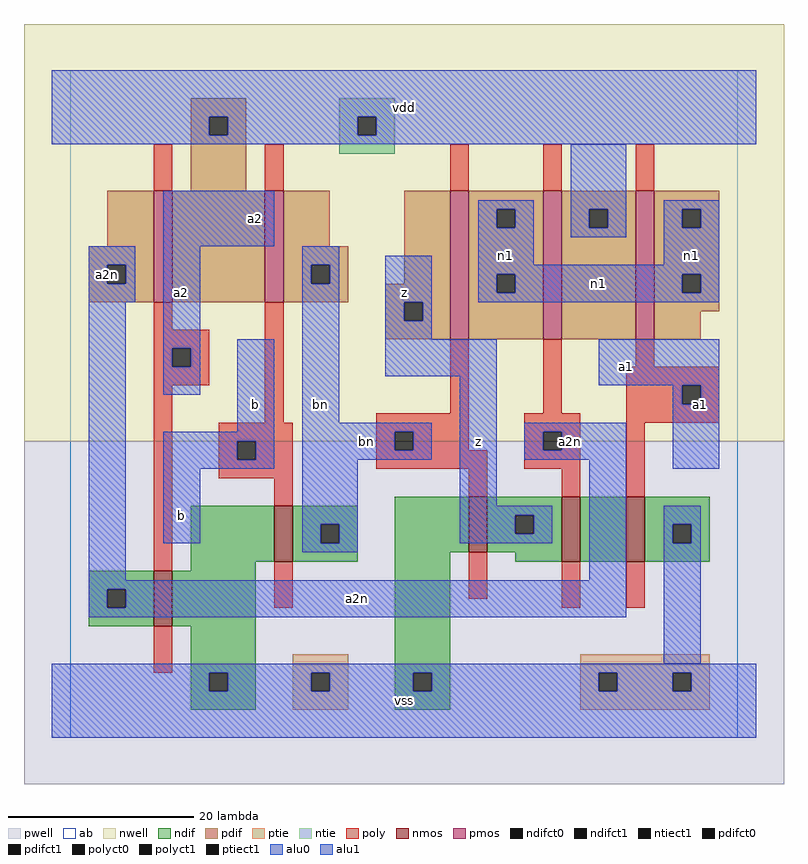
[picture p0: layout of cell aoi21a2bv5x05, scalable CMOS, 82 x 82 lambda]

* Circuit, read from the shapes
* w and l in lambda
.subckt aoi21a2bv5x05 a1 a2 a2n b bn n1 vdd vss z
M1 vss a2 a2n vss nfet w=6 l=2
M2 bn b vss vss nfet w=6 l=2
M3 z bn vss vss nfet w=6 l=2
M4 n2 a2n z vss nfet w=7 l=2
M5 vss a1 n2 vss nfet w=7 l=2
M6 vdd a2 a2n vdd pfet w=12 l=2
M7 bn b vdd vdd pfet w=12 l=2
M8 n1 bn z vdd pfet w=16 l=2
M9 vdd a2n n1 vdd pfet w=16 l=2
M10 n1 a1 vdd vdd pfet w=16 l=2
.ends

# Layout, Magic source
magic
tech scmos
<< ab >>
rect 0 0 72 72
<< nwell >>
rect -5 32 77 77
<< pwell >>
rect -5 -5 77 32
<< poly >>
rect 9 59 11 64
rect 21 59 23 64
rect 41 59 43 64
rect 51 59 53 64
rect 61 59 63 64
rect 9 44 11 47
rect 9 42 15 44
rect 9 40 11 42
rect 13 40 15 42
rect 9 38 15 40
rect 9 18 11 38
rect 21 34 23 47
rect 41 35 43 43
rect 51 35 53 43
rect 61 40 63 43
rect 60 38 70 40
rect 60 36 66 38
rect 68 36 70 38
rect 16 32 24 34
rect 16 30 18 32
rect 20 30 24 32
rect 16 28 24 30
rect 33 33 43 35
rect 33 31 35 33
rect 37 31 43 33
rect 49 33 55 35
rect 49 31 51 33
rect 53 31 55 33
rect 33 29 45 31
rect 49 29 55 31
rect 22 25 24 28
rect 43 26 45 29
rect 53 26 55 29
rect 60 34 70 36
rect 60 26 62 34
rect 22 14 24 19
rect 9 7 11 12
rect 43 15 45 20
rect 53 14 55 19
rect 60 14 62 19
<< ndif >>
rect 13 19 22 25
rect 24 23 31 25
rect 24 21 27 23
rect 29 21 31 23
rect 24 19 31 21
rect 35 20 43 26
rect 45 24 53 26
rect 45 22 48 24
rect 50 22 53 24
rect 45 20 53 22
rect 13 18 20 19
rect 2 16 9 18
rect 2 14 4 16
rect 6 14 9 16
rect 2 12 9 14
rect 11 12 20 18
rect 13 7 20 12
rect 13 5 15 7
rect 17 5 20 7
rect 13 3 20 5
rect 35 7 41 20
rect 48 19 53 20
rect 55 19 60 26
rect 62 23 69 26
rect 62 21 65 23
rect 67 21 69 23
rect 62 19 69 21
rect 35 5 37 7
rect 39 5 41 7
rect 35 3 41 5
<< pdif >>
rect 13 67 19 69
rect 13 65 15 67
rect 17 65 19 67
rect 13 59 19 65
rect 4 53 9 59
rect 2 51 9 53
rect 2 49 4 51
rect 6 49 9 51
rect 2 47 9 49
rect 11 47 21 59
rect 23 53 28 59
rect 23 51 30 53
rect 23 49 26 51
rect 28 49 30 51
rect 36 49 41 59
rect 23 47 30 49
rect 34 47 41 49
rect 34 45 36 47
rect 38 45 41 47
rect 34 43 41 45
rect 43 57 51 59
rect 43 55 46 57
rect 48 55 51 57
rect 43 50 51 55
rect 43 48 46 50
rect 48 48 51 50
rect 43 43 51 48
rect 53 57 61 59
rect 53 55 56 57
rect 58 55 61 57
rect 53 43 61 55
rect 63 57 70 59
rect 63 55 66 57
rect 68 55 70 57
rect 63 50 70 55
rect 63 48 66 50
rect 68 48 70 50
rect 63 46 70 48
rect 63 43 68 46
<< alu1 >>
rect -2 67 74 72
rect -2 65 15 67
rect 17 65 31 67
rect 33 65 74 67
rect -2 64 74 65
rect 10 53 22 59
rect 10 42 14 53
rect 10 40 11 42
rect 13 40 14 42
rect 10 37 14 40
rect 18 33 22 43
rect 10 32 22 33
rect 10 30 18 32
rect 20 30 22 32
rect 10 29 22 30
rect 34 47 39 52
rect 34 45 36 47
rect 38 45 39 47
rect 34 43 39 45
rect 34 39 46 43
rect 10 21 14 29
rect 42 25 46 39
rect 57 38 70 43
rect 65 36 66 38
rect 68 36 70 38
rect 42 24 52 25
rect 42 22 48 24
rect 50 22 52 24
rect 42 21 52 22
rect 65 29 70 36
rect -2 7 74 8
rect -2 5 15 7
rect 17 5 26 7
rect 28 5 37 7
rect 39 5 57 7
rect 59 5 65 7
rect 67 5 74 7
rect -2 0 74 5
<< ptie >>
rect 24 7 30 9
rect 24 5 26 7
rect 28 5 30 7
rect 24 3 30 5
rect 55 7 69 9
rect 55 5 57 7
rect 59 5 65 7
rect 67 5 69 7
rect 55 3 69 5
<< ntie >>
rect 29 67 35 69
rect 29 65 31 67
rect 33 65 35 67
rect 29 63 35 65
<< nmos >>
rect 22 19 24 25
rect 43 20 45 26
rect 9 12 11 18
rect 53 19 55 26
rect 60 19 62 26
<< pmos >>
rect 9 47 11 59
rect 21 47 23 59
rect 41 43 43 59
rect 51 43 53 59
rect 61 43 63 59
<< polyct0 >>
rect 35 31 37 33
rect 51 31 53 33
<< polyct1 >>
rect 11 40 13 42
rect 66 36 68 38
rect 18 30 20 32
<< ndifct0 >>
rect 27 21 29 23
rect 4 14 6 16
rect 65 21 67 23
<< ndifct1 >>
rect 48 22 50 24
rect 15 5 17 7
rect 37 5 39 7
<< ntiect1 >>
rect 31 65 33 67
<< ptiect1 >>
rect 26 5 28 7
rect 57 5 59 7
rect 65 5 67 7
<< pdifct0 >>
rect 4 49 6 51
rect 26 49 28 51
rect 46 55 48 57
rect 46 48 48 50
rect 56 55 58 57
rect 66 55 68 57
rect 66 48 68 50
<< pdifct1 >>
rect 15 65 17 67
rect 36 45 38 47
<< alu0 >>
rect 44 57 50 58
rect 44 55 46 57
rect 48 55 50 57
rect 2 51 7 53
rect 2 49 4 51
rect 6 49 7 51
rect 2 47 7 49
rect 2 17 6 47
rect 25 51 29 53
rect 25 49 26 51
rect 28 49 29 51
rect 25 34 29 49
rect 44 51 50 55
rect 54 57 60 64
rect 54 55 56 57
rect 58 55 60 57
rect 54 54 60 55
rect 64 57 70 58
rect 64 55 66 57
rect 68 55 70 57
rect 64 51 70 55
rect 44 50 70 51
rect 44 48 46 50
rect 48 48 66 50
rect 68 48 70 50
rect 44 47 70 48
rect 25 33 39 34
rect 25 31 35 33
rect 37 31 39 33
rect 25 30 39 31
rect 25 23 31 30
rect 25 21 27 23
rect 29 21 31 23
rect 49 33 60 34
rect 49 31 51 33
rect 53 31 60 33
rect 49 30 60 31
rect 25 20 31 21
rect 56 17 60 30
rect 2 16 60 17
rect 2 14 4 16
rect 6 14 60 16
rect 2 13 60 14
rect 64 23 68 25
rect 64 21 65 23
rect 67 21 68 23
rect 64 8 68 21
<< labels >>
rlabel alu0 4 50 4 50 6 a2n
rlabel alu0 27 36 27 36 6 bn
rlabel alu0 32 32 32 32 6 bn
rlabel alu0 47 52 47 52 6 n1
rlabel alu0 31 15 31 15 6 a2n
rlabel alu0 54 32 54 32 6 a2n
rlabel alu0 57 49 57 49 6 n1
rlabel alu0 67 52 67 52 6 n1
rlabel alu1 12 24 12 24 6 b
rlabel alu1 12 48 12 48 6 a2
rlabel alu1 20 36 20 36 6 b
rlabel alu1 20 56 20 56 6 a2
rlabel alu1 36 4 36 4 6 vss
rlabel alu1 44 32 44 32 6 z
rlabel alu1 36 48 36 48 6 z
rlabel alu1 36 68 36 68 6 vdd
rlabel alu1 60 40 60 40 6 a1
rlabel alu1 68 36 68 36 6 a1
<< end >>
